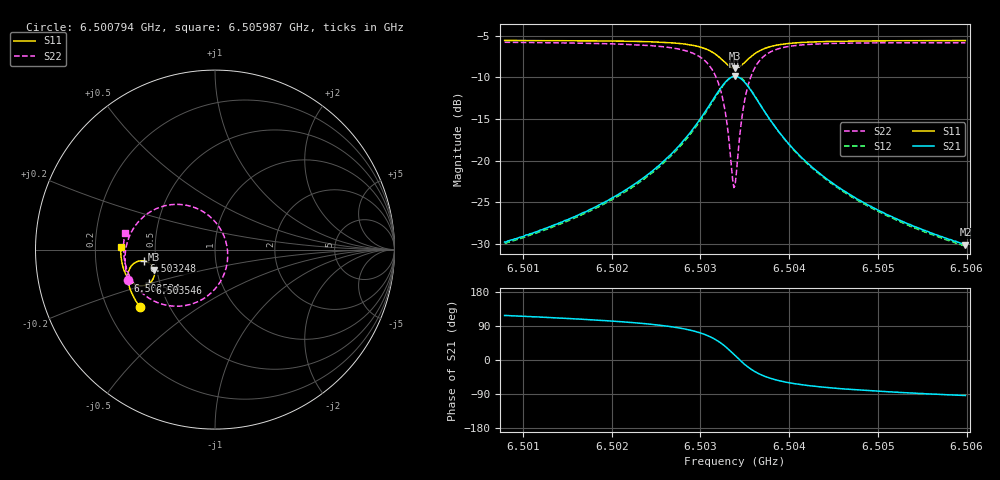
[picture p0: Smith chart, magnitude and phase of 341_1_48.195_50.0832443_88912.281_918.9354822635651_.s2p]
#  HZ  S  RI  R  50.00
! Rohde & Schwarz Vector Network Analyzer
! Rohde-Schwarz,ZNB20-2Port,1311601062101988,3.16
! Created: UTC 3/20/2024, 11:51:17 AM
! freq[Hz]  re:S11  im:S11  re:S21  im:S21  re:S12  im:S12  re:S22  im:S22
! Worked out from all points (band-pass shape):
!   401 points, 6.500794 GHz to 6.505987 GHz, reference 50 ohm
!   highest |S21| = -9.88 dB at 6.50339 GHz (marker M1); lowest = -30.1 dB at 6.505987 GHz (marker M2)
!   |S21| within 3 dB of the highest: 6.50313 GHz to 6.503649 GHz (519.7 kHz wide, 0.00799 % of centre)
!   lowest |S11| = -8.9 dB at 6.50339 GHz (marker M3), VSWR 2.11, Z = 24.1 - j6.13 ohm
!   |S11| at or under -10 dB: nowhere
!   |S22| runs from -23.2 to -5.8 dB; largest |S21 - S12| = 0.011
!   S11 on the Smith chart (normalised r, x): 6.500794 GHz: 0.34, -0.30; 6.502534 GHz: 0.33, -0.15; 6.503248 GHz: 0.43, -0.06; 6.503546 GHz: 0.44, -0.20; 6.505987 GHz: 0.31, +0.01
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6.5007939e9  -0.4191 -0.3188  -0.015 0.0289  -0.0134 0.0289  -0.4853 -0.168
6.5016637e9  -0.4575 -0.2558  -0.0146 0.0461  -0.0122 0.0458  -0.501 -0.0781
6.50217e9  -0.4758 -0.2118  -0.0116 0.0664  -0.00862 0.0652  -0.4989 -0.00791
6.5025335e9  -0.4849 -0.1724  -0.0034 0.0935  0.000129 0.0915  -0.4815 0.0628
6.5028321e9  -0.4835 -0.1291  0.0201 0.1345  0.0239 0.1304  -0.4325 0.1482
6.5030268e9  -0.4666 -0.0918  0.0661 0.175  0.069 0.1692  -0.3434 0.2201
6.5031567e9  -0.4352 -0.0675  0.1344 0.1975  0.1356 0.191  -0.2195 0.2521
6.5032475e9  -0.3975 -0.0625  0.2096 0.1875  0.2099 0.1823  -0.0892 0.2238
6.5032995e9  -0.3725 -0.0709  0.2569 0.16  0.258 0.1554  -0.0105 0.1675
6.5033644e9  -0.3464 -0.0967  0.3037 0.0978  0.3062 0.0927  0.0597 0.0478
6.5033903e9  -0.3402 -0.1109  0.3137 0.0663  0.3167 0.0604  0.0701 -0.0106
6.5034033e9  -0.3385 -0.1184  0.3163 0.0499  0.3194 0.0435  0.0707 -0.0405
6.5034553e9  -0.3394 -0.1486  0.3108 -0.014  0.3133 -0.0229  0.0431 -0.1542
6.5034812e9  -0.3443 -0.1622  0.2999 -0.0424  0.3015 -0.0521  0.0141 -0.2017
6.5035461e9  -0.365 -0.1872  0.2579 -0.0952  0.2568 -0.1061  -0.0797 -0.2824
6.50365e9  -0.4037 -0.2018  0.1854 -0.1305  0.1802 -0.1396  -0.2253 -0.3154
6.5038188e9  -0.4488 -0.192  0.106 -0.1279  0.0992 -0.1328  -0.3687 -0.2702
6.5040005e9  -0.4757 -0.1706  0.0625 -0.1086  0.0565 -0.1108  -0.4391 -0.2067
6.5042601e9  -0.4963 -0.1406  0.0331 -0.0849  0.0288 -0.0856  -0.4816 -0.1358
6.5046236e9  -0.511 -0.1033  0.0154 -0.0639  0.0123 -0.0635  -0.5028 -0.0659
6.5051299e9  -0.5211 -0.0568  0.00489 -0.0466  0.00269 -0.0461  -0.5096 0.00399
6.5059868e9  -0.5258 0.0152  -0.00202 -0.0313  -0.00343 -0.0305  -0.5013 0.0927
